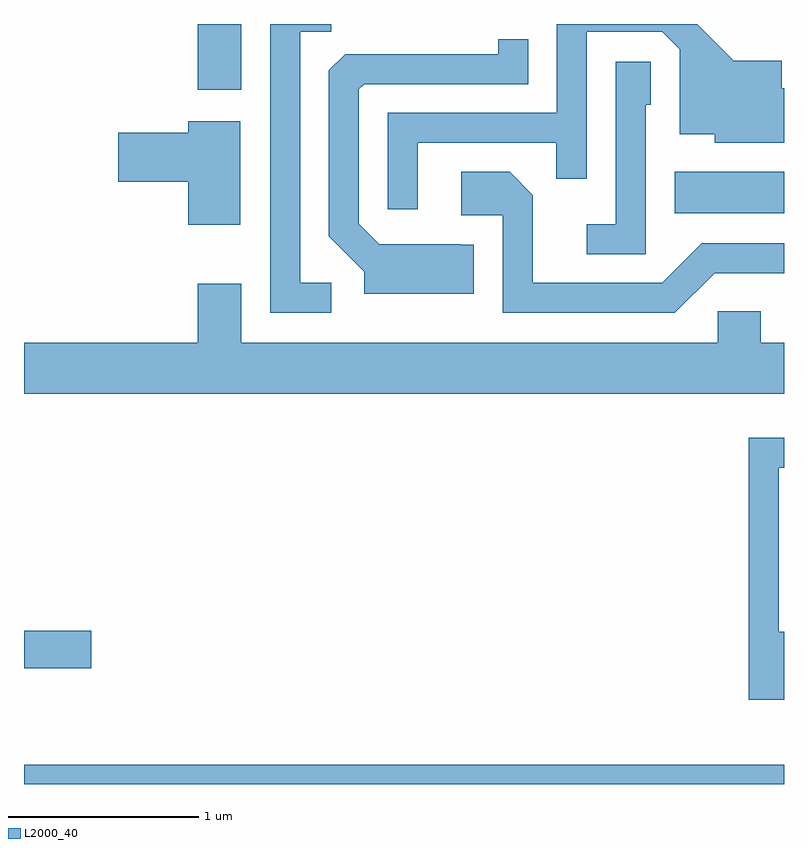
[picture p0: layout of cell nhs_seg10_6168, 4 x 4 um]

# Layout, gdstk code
import gdstk
lib = gdstk.Library(unit=1e-6, precision=1e-09)
def R(c, l, rs):  # rectangles x0, y0, x1, y1
    for r in rs: c.add(gdstk.rectangle(r[:2], r[2:], *l))
def P(c, l, *ps):  # polygons
    for p in ps: c.add(gdstk.Polygon(p, *l))
L2000_40 = (2000, 40)

nhs_seg10_6168 = lib.new_cell('nhs_seg10_6168')
R(nhs_seg10_6168, L2000_40, [(367.611,2118.522,371.611,2118.624), (367.611,2119.131,367.964,2119.329), (371.036,2121.526,371.611,2121.744), (368.526,2122.176,368.754,2122.522)])
P(nhs_seg10_6168, L2000_40, [(369.228,2121.159),(369.064,2121.159),(369.064,2122.481),(369.228,2122.481),(369.228,2122.522),(368.906,2122.522),(368.906,2121.001),(369.228,2121.001)],
  [(369.684,2121.896),(370.411,2121.896),(370.411,2121.708),(370.574,2121.708),(370.574,2122.481),(370.969,2122.481),(371.061,2122.389),(371.061,2121.941),(371.246,2121.941),(371.246,2121.896),(371.611,2121.896),(371.611,2122.184),(371.599,2122.184),(371.599,2122.329),(371.347,2122.329),(371.154,2122.522),(370.416,2122.522),(370.416,2122.054),(369.526,2122.054),(369.526,2121.548),(369.684,2121.548)],
  [(369.979,2121.359),(369.911,2121.359),(369.906,2121.364),(369.482,2121.364),(369.374,2121.472),(369.374,2122.179),(369.402,2122.206),(370.264,2122.206),(370.264,2122.443),(370.106,2122.443),(370.106,2122.364),(369.302,2122.364),(369.216,2122.279),(369.216,2121.404),(369.401,2121.219),(369.401,2121.101),(369.979,2121.101)],
  [(370.884,2122.096),(370.909,2122.096),(370.909,2122.324),(370.726,2122.324),(370.726,2121.469),(370.573,2121.469),(370.573,2121.311),(370.884,2121.311)],
  [(368.749,2122.009),(368.476,2122.009),(368.476,2121.949),(368.106,2121.949),(368.106,2121.691),(368.476,2121.691),(368.476,2121.466),(368.749,2121.466)],
  [(371.247,2121.211),(371.611,2121.211),(371.611,2121.369),(371.179,2121.369),(370.969,2121.159),(370.289,2121.159),(370.289,2121.622),(370.167,2121.744),(369.911,2121.744),(369.911,2121.516),(370.131,2121.516),(370.131,2121.001),(371.037,2121.001)],
  [(371.611,2120.844),(371.489,2120.844),(371.489,2121.009),(371.261,2121.009),(371.261,2120.844),(368.754,2120.844),(368.754,2121.154),(368.526,2121.154),(368.526,2120.844),(367.611,2120.844),(367.611,2120.576),(371.611,2120.576)],
  [(371.611,2119.324),(371.584,2119.324),(371.584,2120.186),(371.611,2120.186),(371.611,2120.344),(371.426,2120.344),(371.426,2118.966),(371.611,2118.966)])

lib.write_gds('nhs_seg10_6168.gds')
